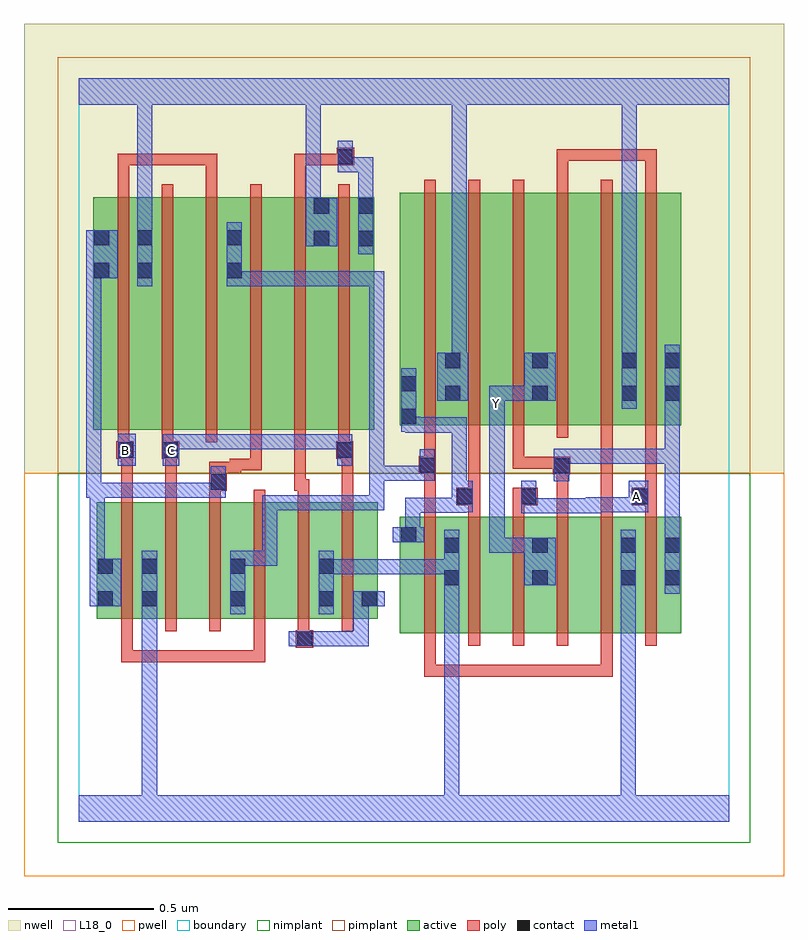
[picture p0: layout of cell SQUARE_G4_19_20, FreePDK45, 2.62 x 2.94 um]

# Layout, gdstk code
import gdstk
lib = gdstk.Library(unit=1e-6, precision=1e-09)
def R(c, l, rs):  # rectangles x0, y0, x1, y1
    for r in rs: c.add(gdstk.rectangle(r[:2], r[2:], *l))
def A(c, l, x, y, w, h, nx, ny, dx, dy):  # array of equal rectangles
    R(c, l, [(x+i*dx, y+j*dy, x+i*dx+w, y+j*dy+h) for i in range(nx) for j in range(ny)])
active = (1, 0)
pwell = (2, 0)
nwell = (3, 0)
nimplant = (4, 0)
pimplant = (5, 0)
poly = (9, 0)
contact = (10, 0)
metal1 = (11, 0)
L18_0 = (18, 0)
boundary = (235, 0)

square_g4_19_20 = lib.new_cell('SQUARE_G4_19_20')
R(square_g4_19_20, active, [(1.106,0.65,1.166,1.05), (1.106,0.65,1.314,1.05), (1.254,0.65,1.438,1.05), (1.254,0.65,1.314,0.982), (1.438,0.65,1.618,1.05), (1.558,0.65,1.618,1.05), (1.558,0.65,1.742,1.05), (1.742,0.65,1.922,1.05), (1.862,0.65,2.074,1.05), (1.862,0.65,1.922,0.984), (2.014,0.65,2.074,1.05), (0.062,0.7,0.122,1.1), (0.062,0.7,0.274,1.1), (0.214,0.7,0.394,1.1), (0.214,0.7,0.274,1.062), (0.394,0.7,0.578,1.1), (0.518,0.7,0.698,1.1), (0.518,0.7,0.578,0.91), (0.698,0.7,0.882,1.1), (0.822,0.7,1.03,1.1), (0.822,0.7,0.882,1.086), (0.97,0.7,1.03,0.828), (0.05,1.35,0.258,2.15), (0.05,1.35,0.11,2.044), (0.198,1.35,0.382,2.15), (0.382,1.35,0.566,2.15), (0.506,1.35,0.686,2.15), (0.686,1.35,0.866,2.15), (0.806,1.35,1.018,2.15), (0.958,1.35,1.018,2.15), (1.106,1.366,1.166,2.166), (1.106,1.366,1.318,2.166), (1.258,1.366,1.438,2.166), (1.438,1.366,1.618,2.166), (1.558,1.366,1.618,2.166), (1.558,1.366,1.742,2.166), (1.742,1.366,1.926,2.166), (1.866,1.366,2.074,2.166), (1.866,1.366,1.926,2.044), (2.014,1.366,2.074,2.166), (0.806,1.402,0.866,2.15), (1.258,1.446,1.318,2.166), (0.198,1.65,0.258,2.15), (0.506,1.686,0.566,2.15)])
R(square_g4_19_20, pwell, [(-0.188,-0.188,2.428,1.2)])
R(square_g4_19_20, nwell, [(-0.188,1.2,2.428,2.748)])
R(square_g4_19_20, nimplant, [(-0.072,-0.072,2.312,1.2)])
R(square_g4_19_20, pimplant, [(-0.072,1.2,2.312,2.632)])
A(square_g4_19_20, poly, 1.19, 0.606, 0.04, 0.488, 6, 1, 0.152, 0)
A(square_g4_19_20, poly, 0.146, 0.656, 0.04, 0.488, 6, 1, 0.152, 0)
A(square_g4_19_20, poly, 0.134, 1.306, 0.04, 0.888, 6, 1, 0.152, 0)
A(square_g4_19_20, poly, 1.19, 1.322, 0.04, 0.888, 6, 1, 0.152, 0)
A(square_g4_19_20, poly, 0.134, 2.154, 0.04, 0.146, 3, 1, 0.304, 0)
R(square_g4_19_20, poly, [(1.19,0.5,1.23,0.646), (1.19,0.5,1.23,0.54), (1.19,0.5,1.336,0.54), (1.296,0.5,1.336,0.54), (1.296,0.5,1.336,0.54), (1.296,0.5,1.336,0.54), (1.296,0.5,1.566,0.54), (1.526,0.5,1.566,0.54), (1.526,0.5,1.566,0.54), (1.526,0.5,1.566,0.54), (1.526,0.5,1.732,0.54), (1.692,0.5,1.732,0.54), (1.692,0.5,1.732,0.54), (1.692,0.5,1.732,0.54), (1.692,0.5,1.838,0.54), (1.798,0.5,1.838,0.646), (1.798,0.5,1.838,0.54), (1.798,0.5,1.838,0.54), (1.798,0.5,1.838,0.54), (0.146,0.55,0.186,0.696), (0.146,0.55,0.186,0.59), (0.146,0.55,0.186,0.59), (0.146,0.55,0.186,0.59), (0.146,0.55,0.296,0.59), (0.256,0.55,0.296,0.59), (0.256,0.55,0.296,0.59), (0.256,0.55,0.296,0.59), (0.256,0.55,0.46,0.59), (0.42,0.55,0.46,0.59), (0.42,0.55,0.642,0.59), (0.602,0.55,0.642,0.696), (0.602,0.55,0.642,0.59), (0.602,0.55,0.642,0.59), (0.602,0.55,0.642,0.59), (0.748,0.6,0.808,0.66), (0.754,0.62,0.794,0.696), (1.19,1.054,1.23,1.238), (1.342,1.054,1.382,1.13), (1.494,1.054,1.534,1.13), (1.646,1.054,1.686,1.236), (1.798,1.054,1.838,1.13), (1.95,1.054,1.99,1.13), (1.3,1.09,1.382,1.15), (1.342,1.09,1.382,1.13), (1.342,1.09,1.382,1.13), (1.494,1.09,1.58,1.15), (1.798,1.09,1.838,1.13), (1.798,1.09,1.838,1.13), (1.798,1.09,1.838,1.13), (1.798,1.09,1.838,1.362), (1.904,1.09,1.99,1.15), (0.146,1.104,0.186,1.29), (0.298,1.104,0.338,1.29), (0.45,1.104,0.49,1.18), (0.754,1.104,0.794,1.18), (0.906,1.104,0.946,1.29), (1.342,1.11,1.382,1.362), (1.95,1.11,1.99,1.15), (1.95,1.11,1.99,1.15), (1.95,1.11,1.99,1.362), (0.45,1.14,0.51,1.24), (0.742,1.14,0.782,1.18), (0.742,1.14,0.782,1.18), (0.742,1.14,0.782,1.346), (0.742,1.14,0.794,1.18), (1.632,1.196,1.692,1.256), (1.646,1.196,1.686,1.236), (1.646,1.196,1.686,1.236), (1.17,1.198,1.23,1.258), (1.19,1.198,1.23,1.238), (1.19,1.198,1.23,1.238), (0.47,1.2,0.56,1.24), (0.52,1.2,0.56,1.25), (0.52,1.21,0.63,1.25), (0.59,1.21,0.63,1.25), (0.59,1.21,0.63,1.25), (0.59,1.21,0.63,1.25), (0.59,1.21,0.63,1.346), (1.494,1.216,1.534,1.362), (1.494,1.216,1.534,1.256), (1.494,1.216,1.672,1.256), (1.632,1.216,1.672,1.256), (1.632,1.216,1.672,1.256), (1.19,1.218,1.23,1.362), (0.13,1.25,0.19,1.31), (0.146,1.25,0.186,1.29), (0.146,1.25,0.186,1.29), (0.286,1.25,0.346,1.31), (0.298,1.25,0.338,1.29), (0.298,1.25,0.338,1.29), (0.886,1.25,0.946,1.31), (0.906,1.25,0.946,1.29), (0.906,1.25,0.946,1.29), (0.134,1.27,0.174,1.346), (0.286,1.27,0.326,1.346), (0.894,1.27,0.934,1.346), (1.646,2.17,1.686,2.316), (1.95,2.17,1.99,2.316), (0.134,2.26,0.174,2.3), (0.134,2.26,0.174,2.3), (0.134,2.26,0.174,2.3), (0.134,2.26,0.354,2.3), (0.314,2.26,0.354,2.3), (0.314,2.26,0.354,2.3), (0.314,2.26,0.354,2.3), (0.314,2.26,0.478,2.3), (0.438,2.26,0.478,2.3), (0.742,2.26,0.782,2.3), (0.742,2.26,0.782,2.3), (0.742,2.26,0.782,2.3), (0.742,2.26,0.928,2.3), (0.888,2.26,0.948,2.32), (1.646,2.276,1.686,2.316), (1.646,2.276,1.838,2.316), (1.798,2.276,1.838,2.316), (1.798,2.276,1.838,2.316), (1.798,2.276,1.838,2.316), (1.798,2.276,1.99,2.316), (1.95,2.276,1.99,2.316), (1.95,2.276,1.99,2.316), (1.95,2.276,1.99,2.316)])
A(square_g4_19_20, contact, 0.218, 0.742, 0.052, 0.052, 3, 2, 0.304, 0.112)
A(square_g4_19_20, contact, 1.258, 0.814, 0.052, 0.052, 3, 2, 0.304, 0.112)
R(square_g4_19_20, contact, [(0.752,0.604,0.804,0.656), (0.066,0.742,0.118,0.794), (0.974,0.742,1.026,0.794), (2.018,0.814,2.07,0.866), (0.066,0.854,0.118,0.906), (2.018,0.926,2.07,0.978), (1.11,0.962,1.162,1.014), (1.304,1.094,1.356,1.146), (1.524,1.094,1.576,1.146), (1.908,1.094,1.96,1.146), (0.454,1.144,0.506,1.196), (1.636,1.2,1.688,1.252), (1.174,1.202,1.226,1.254), (0.134,1.254,0.186,1.306), (0.29,1.254,0.342,1.306), (0.89,1.254,0.942,1.306), (1.11,1.37,1.162,1.422), (1.262,1.45,1.314,1.502), (1.562,1.45,1.614,1.502), (1.87,1.45,1.922,1.502), (2.018,1.45,2.07,1.502), (1.11,1.482,1.162,1.534), (1.262,1.562,1.314,1.614), (1.562,1.562,1.614,1.614), (1.87,1.562,1.922,1.614), (2.018,1.562,2.07,1.614), (0.054,1.872,0.106,1.924), (0.202,1.872,0.254,1.924), (0.51,1.872,0.562,1.924), (0.81,1.982,0.862,2.034), (0.962,1.982,1.014,2.034), (0.054,1.984,0.106,2.036), (0.202,1.984,0.254,2.036), (0.51,1.984,0.562,2.036), (0.81,2.094,0.862,2.146), (0.962,2.094,1.014,2.146), (0.892,2.264,0.944,2.316)])
A(square_g4_19_20, metal1, 0.218, 0.714, 0.052, 0.22, 3, 1, 0.304, 0)
A(square_g4_19_20, metal1, 0.412, 1.282, 0.052, 0.052, 3, 1, 0.11, 0)
R(square_g4_19_20, metal1, [(0,0,2.24,0.092), (0.218,0.04,0.27,0.092), (0.218,0.04,0.27,0.092), (0.218,0.04,0.27,0.092), (0.218,0.04,0.27,0.092), (0.218,0.04,0.27,0.092), (0.218,0.04,0.27,0.092), (0.218,0.04,0.27,0.092), (0.218,0.04,0.27,0.092), (0.218,0.04,0.27,0.092), (0.218,0.04,0.27,0.092), (0.218,0.04,0.27,0.092), (0.218,0.04,0.27,0.092), (0.218,0.04,0.27,0.766), (1.258,0.04,1.31,0.838), (1.866,0.04,1.918,0.092), (1.866,0.04,1.918,0.092), (1.866,0.04,1.918,0.092), (1.866,0.04,1.918,0.092), (1.866,0.04,1.918,0.092), (1.866,0.04,1.918,0.092), (1.866,0.04,1.918,0.092), (1.866,0.04,1.918,0.092), (1.866,0.04,1.918,0.092), (1.866,0.04,1.918,0.092), (1.866,0.04,1.918,0.092), (1.866,0.04,1.918,0.092), (1.866,0.04,1.918,0.838), (0.724,0.604,0.832,0.656), (0.78,0.604,0.832,0.656), (0.78,0.604,0.832,0.656), (0.78,0.604,0.998,0.656), (0.946,0.604,0.998,0.656), (0.946,0.604,0.998,0.656), (0.946,0.604,0.998,0.656), (0.946,0.604,0.998,0.794), (0.038,0.742,0.146,0.906), (0.946,0.742,1.054,0.794), (1.258,0.786,1.31,1.006), (1.258,0.786,1.31,0.838), (1.258,0.786,1.31,0.838), (1.258,0.786,1.31,0.838), (1.258,0.786,1.31,0.838), (1.258,0.786,1.31,0.838), (1.258,0.786,1.31,0.838), (1.258,0.786,1.31,0.838), (1.258,0.786,1.31,0.838), (1.258,0.786,1.31,0.838), (1.258,0.786,1.31,0.838), (1.258,0.786,1.31,0.838), (1.258,0.786,1.31,0.838), (1.866,0.786,1.918,1.006), (2.018,0.786,2.07,1.006), (1.534,0.814,1.642,0.978), (0.826,0.852,1.024,0.904), (0.972,0.852,1.024,0.904), (0.972,0.852,1.024,0.904), (0.972,0.852,1.024,0.904), (0.972,0.852,1.164,0.904), (1.112,0.852,1.164,0.904), (1.112,0.852,1.164,0.904), (1.112,0.852,1.164,0.904), (1.112,0.852,1.164,0.904), (1.112,0.852,1.164,0.904), (1.112,0.852,1.31,0.904), (0.038,0.854,0.09,1.168), (0.522,0.882,0.574,0.934), (0.522,0.882,0.574,0.934), (0.522,0.882,0.684,0.934), (0.632,0.882,0.684,1.124), (0.632,0.882,0.684,0.934), (1.414,0.926,1.466,0.978), (1.414,0.926,1.466,0.978), (1.414,0.926,1.466,0.978), (1.414,0.926,1.586,0.978), (1.414,0.926,1.466,1.438), (2.018,0.954,2.07,1.284), (2.018,0.954,2.07,1.006), (2.018,0.954,2.07,1.006), (1.082,0.962,1.19,1.014), (1.124,0.962,1.176,1.116), (1.524,1.062,1.576,1.118), (1.524,1.062,1.686,1.114), (1.634,1.062,1.686,1.114), (1.634,1.062,1.686,1.114), (1.634,1.062,1.686,1.114), (1.634,1.062,1.798,1.114), (1.746,1.062,1.798,1.118), (1.124,1.064,1.176,1.116), (1.124,1.064,1.176,1.116), (1.124,1.064,1.176,1.116), (1.124,1.064,1.336,1.116), (1.284,1.064,1.336,1.116), (1.284,1.064,1.336,1.116), (1.284,1.064,1.336,1.118), (1.284,1.066,1.356,1.118), (1.284,1.066,1.336,1.392), (1.304,1.066,1.356,1.174), (1.524,1.066,1.576,1.118), (1.524,1.066,1.576,1.174), (1.746,1.066,1.946,1.118), (1.894,1.066,1.946,1.118), (1.894,1.066,1.946,1.118), (1.894,1.066,1.96,1.174), (0.632,1.072,0.684,1.124), (0.632,1.072,0.832,1.124), (0.78,1.072,0.832,1.124), (0.78,1.072,0.832,1.124), (0.78,1.072,0.832,1.124), (0.78,1.072,1.024,1.124), (0.972,1.072,1.024,1.124), (0.972,1.072,1.052,1.124), (1,1.072,1.052,1.124), (1,1.072,1.052,1.226), (0.026,1.116,0.078,1.168), (0.026,1.116,0.078,1.168), (0.026,1.116,0.09,1.168), (0.026,1.116,0.078,1.924), (0.038,1.116,0.2,1.168), (0.148,1.116,0.2,1.168), (0.148,1.116,0.2,1.168), (0.148,1.116,0.2,1.168), (0.148,1.116,0.31,1.168), (0.258,1.116,0.31,1.168), (0.258,1.116,0.31,1.168), (0.258,1.116,0.31,1.168), (0.258,1.116,0.506,1.168), (0.454,1.116,0.506,1.224), (1.636,1.172,1.688,1.28), (1,1.174,1.052,1.226), (1,1.174,1.176,1.226), (1,1.174,1.052,1.896), (1.124,1.174,1.176,1.226), (1.124,1.174,1.226,1.226), (1.174,1.174,1.226,1.282), (0.134,1.226,0.196,1.336), (0.29,1.226,0.346,1.334), (0.89,1.226,0.942,1.334), (1.636,1.228,1.688,1.28), (1.636,1.228,1.688,1.284), (1.636,1.232,1.836,1.284), (1.784,1.232,1.836,1.284), (1.784,1.232,1.836,1.284), (1.784,1.232,1.836,1.284), (1.784,1.232,2.07,1.284), (2.018,1.232,2.07,1.474), (2.018,1.232,2.07,1.284), (2.018,1.232,2.07,1.284), (2.018,1.232,2.07,1.284), (0.294,1.282,0.346,1.334), (0.294,1.282,0.346,1.334), (0.294,1.282,0.464,1.334), (0.412,1.282,0.464,1.334), (0.412,1.282,0.464,1.334), (0.412,1.282,0.574,1.334), (0.522,1.282,0.684,1.334), (0.632,1.282,0.832,1.334), (0.78,1.282,0.832,1.334), (0.78,1.282,0.832,1.334), (0.78,1.282,0.832,1.334), (0.78,1.282,0.942,1.334), (1.124,1.34,1.336,1.392), (1.124,1.34,1.176,1.394), (1.284,1.34,1.336,1.392), (1.11,1.342,1.162,1.562), (1.11,1.342,1.176,1.394), (1.414,1.386,1.466,1.494), (1.87,1.422,1.922,1.642), (2.018,1.422,2.07,1.642), (1.414,1.442,1.466,1.494), (1.414,1.442,1.466,1.494), (1.414,1.442,1.466,1.502), (1.234,1.45,1.342,1.614), (1.414,1.45,1.466,1.502), (1.414,1.45,1.466,1.502), (1.414,1.45,1.466,1.502), (1.414,1.45,1.586,1.502), (1.534,1.45,1.642,1.614), (1.284,1.562,1.336,1.614), (1.284,1.562,1.336,1.614), (1.284,1.562,1.336,1.614), (1.284,1.562,1.336,1.614), (1.284,1.562,1.336,1.614), (1.284,1.562,1.336,1.614), (1.284,1.562,1.336,2.52), (1.87,1.59,1.922,1.642), (1.87,1.59,1.922,1.642), (1.87,1.59,1.922,1.642), (1.87,1.59,1.922,1.642), (1.87,1.59,1.922,1.642), (1.87,1.59,1.922,1.642), (1.87,1.59,1.922,1.642), (1.87,1.59,1.922,1.642), (1.87,1.59,1.922,2.52), (0.202,1.844,0.254,2.064), (0.51,1.844,0.562,2.064), (0.51,1.844,0.574,1.896), (0.522,1.844,0.574,1.896), (0.522,1.844,0.684,1.896), (0.632,1.844,0.684,1.896), (0.632,1.844,0.684,1.896), (0.632,1.844,0.684,1.896), (0.632,1.844,0.794,1.896), (0.742,1.844,0.794,1.896), (0.742,1.844,1.024,1.896), (0.972,1.844,1.024,1.896), (0.972,1.844,1.052,1.896), (1,1.844,1.052,1.896), (0.026,1.872,0.134,2.036), (0.962,1.954,1.014,2.174), (0.782,1.982,0.89,2.146), (0.202,2.012,0.254,2.064), (0.202,2.012,0.254,2.064), (0.202,2.012,0.254,2.064), (0.202,2.012,0.254,2.064), (0.202,2.012,0.254,2.064), (0.202,2.012,0.254,2.064), (0.202,2.012,0.254,2.064), (0.202,2.012,0.254,2.064), (0.202,2.012,0.254,2.52), (0.782,2.094,0.834,2.146), (0.782,2.094,0.834,2.146), (0.782,2.094,0.834,2.146), (0.782,2.094,0.834,2.146), (0.782,2.094,0.834,2.146), (0.782,2.094,0.834,2.146), (0.782,2.094,0.834,2.146), (0.782,2.094,0.834,2.146), (0.782,2.094,0.834,2.52), (0.962,2.122,1.014,2.288), (0.892,2.236,0.944,2.344), (0.892,2.236,1.014,2.288), (0.962,2.236,1.014,2.288), (0,2.468,2.24,2.56), (1.284,2.468,1.336,2.52), (1.284,2.468,1.336,2.52)])
A(square_g4_19_20, L18_0, 0.412, 1.282, 0.052, 0.052, 3, 1, 0.11, 0)
R(square_g4_19_20, L18_0, [(0,0,2.24,0.092), (0.218,0.04,0.27,0.092), (0.218,0.04,0.27,0.092), (0.218,0.04,0.27,0.092), (0.218,0.04,0.27,0.092), (0.218,0.04,0.27,0.092), (0.218,0.04,0.27,0.092), (0.218,0.04,0.27,0.092), (0.218,0.04,0.27,0.092), (0.218,0.04,0.27,0.092), (0.218,0.04,0.27,0.092), (0.218,0.04,0.27,0.092), (0.218,0.04,0.27,0.092), (0.218,0.04,0.27,0.766), (1.258,0.04,1.31,0.838), (1.866,0.04,1.918,0.092), (1.866,0.04,1.918,0.092), (1.866,0.04,1.918,0.092), (1.866,0.04,1.918,0.092), (1.866,0.04,1.918,0.092), (1.866,0.04,1.918,0.092), (1.866,0.04,1.918,0.092), (1.866,0.04,1.918,0.092), (1.866,0.04,1.918,0.092), (1.866,0.04,1.918,0.092), (1.866,0.04,1.918,0.092), (1.866,0.04,1.918,0.092), (1.866,0.04,1.918,0.838), (0.218,0.714,0.27,0.934), (0.826,0.714,0.878,0.934), (1.258,0.786,1.31,0.838), (1.258,0.786,1.31,0.838), (1.258,0.786,1.31,0.838), (1.258,0.786,1.31,0.838), (1.258,0.786,1.31,0.838), (1.258,0.786,1.31,0.838), (1.258,0.786,1.31,0.838), (1.258,0.786,1.31,0.838), (1.258,0.786,1.31,0.838), (1.258,0.786,1.31,0.838), (1.258,0.786,1.31,0.838), (1.258,0.786,1.31,0.838), (1.258,0.786,1.31,1.006), (1.866,0.786,1.918,1.006), (1.534,0.814,1.642,0.978), (0.826,0.852,1.024,0.904), (0.972,0.852,1.024,0.904), (0.972,0.852,1.024,0.904), (0.972,0.852,1.024,0.904), (0.972,0.852,1.164,0.904), (1.112,0.852,1.164,0.904), (1.112,0.852,1.164,0.904), (1.112,0.852,1.164,0.904), (1.112,0.852,1.164,0.904), (1.112,0.852,1.164,0.904), (1.112,0.852,1.31,0.904), (1.414,0.926,1.466,0.978), (1.414,0.926,1.466,0.978), (1.414,0.926,1.466,0.978), (1.414,0.926,1.466,1.438), (1.414,0.926,1.586,0.978), (1.524,1.062,1.686,1.114), (1.524,1.062,1.576,1.118), (1.634,1.062,1.686,1.114), (1.634,1.062,1.686,1.114), (1.634,1.062,1.686,1.114), (1.634,1.062,1.798,1.114), (1.746,1.062,1.798,1.118), (1.524,1.066,1.576,1.118), (1.524,1.066,1.576,1.174), (1.746,1.066,1.946,1.118), (1.894,1.066,1.946,1.118), (1.894,1.066,1.946,1.118), (1.894,1.066,1.96,1.174), (1.894,1.094,1.946,1.146), (0.134,1.226,0.196,1.336), (0.29,1.226,0.346,1.334), (0.89,1.226,0.942,1.334), (0.134,1.254,0.186,1.306), (0.294,1.254,0.346,1.306), (0.294,1.282,0.346,1.334), (0.294,1.282,0.346,1.334), (0.294,1.282,0.464,1.334), (0.412,1.282,0.464,1.334), (0.412,1.282,0.464,1.334), (0.412,1.282,0.574,1.334), (0.522,1.282,0.684,1.334), (0.632,1.282,0.832,1.334), (0.78,1.282,0.832,1.334), (0.78,1.282,0.832,1.334), (0.78,1.282,0.832,1.334), (0.78,1.282,0.942,1.334), (1.414,1.386,1.466,1.494), (1.414,1.414,1.466,1.466), (1.87,1.422,1.922,1.642), (1.414,1.442,1.466,1.494), (1.414,1.442,1.466,1.494), (1.414,1.442,1.466,1.502), (1.234,1.45,1.342,1.614), (1.414,1.45,1.466,1.502), (1.414,1.45,1.466,1.502), (1.414,1.45,1.466,1.502), (1.414,1.45,1.586,1.502), (1.534,1.45,1.642,1.614), (1.284,1.562,1.336,1.614), (1.284,1.562,1.336,1.614), (1.284,1.562,1.336,1.614), (1.284,1.562,1.336,1.614), (1.284,1.562,1.336,1.614), (1.284,1.562,1.336,1.614), (1.284,1.562,1.336,2.52), (1.87,1.59,1.922,1.642), (1.87,1.59,1.922,1.642), (1.87,1.59,1.922,1.642), (1.87,1.59,1.922,1.642), (1.87,1.59,1.922,1.642), (1.87,1.59,1.922,1.642), (1.87,1.59,1.922,1.642), (1.87,1.59,1.922,1.642), (1.87,1.59,1.922,2.52), (0.202,1.844,0.254,2.064), (0.782,1.982,0.89,2.146), (0.202,2.012,0.254,2.064), (0.202,2.012,0.254,2.064), (0.202,2.012,0.254,2.064), (0.202,2.012,0.254,2.064), (0.202,2.012,0.254,2.064), (0.202,2.012,0.254,2.064), (0.202,2.012,0.254,2.064), (0.202,2.012,0.254,2.064), (0.202,2.012,0.254,2.52), (0.782,2.094,0.834,2.146), (0.782,2.094,0.834,2.146), (0.782,2.094,0.834,2.146), (0.782,2.094,0.834,2.146), (0.782,2.094,0.834,2.146), (0.782,2.094,0.834,2.146), (0.782,2.094,0.834,2.146), (0.782,2.094,0.834,2.146), (0.782,2.094,0.834,2.52), (0,2.468,2.24,2.56), (1.284,2.468,1.336,2.52), (1.284,2.468,1.336,2.52)])
R(square_g4_19_20, boundary, [(0,0,2.24,2.56)])
square_g4_19_20.add(gdstk.Label('A', (1.92,1.12), layer=11, texttype=0))
square_g4_19_20.add(gdstk.Label('B', (0.16,1.28), layer=11, texttype=0))
square_g4_19_20.add(gdstk.Label('C', (0.32,1.28), layer=11, texttype=0))
square_g4_19_20.add(gdstk.Label('Y', (1.44,1.44), layer=11, texttype=0))

lib.write_gds('SQUARE_G4_19_20.gds')
